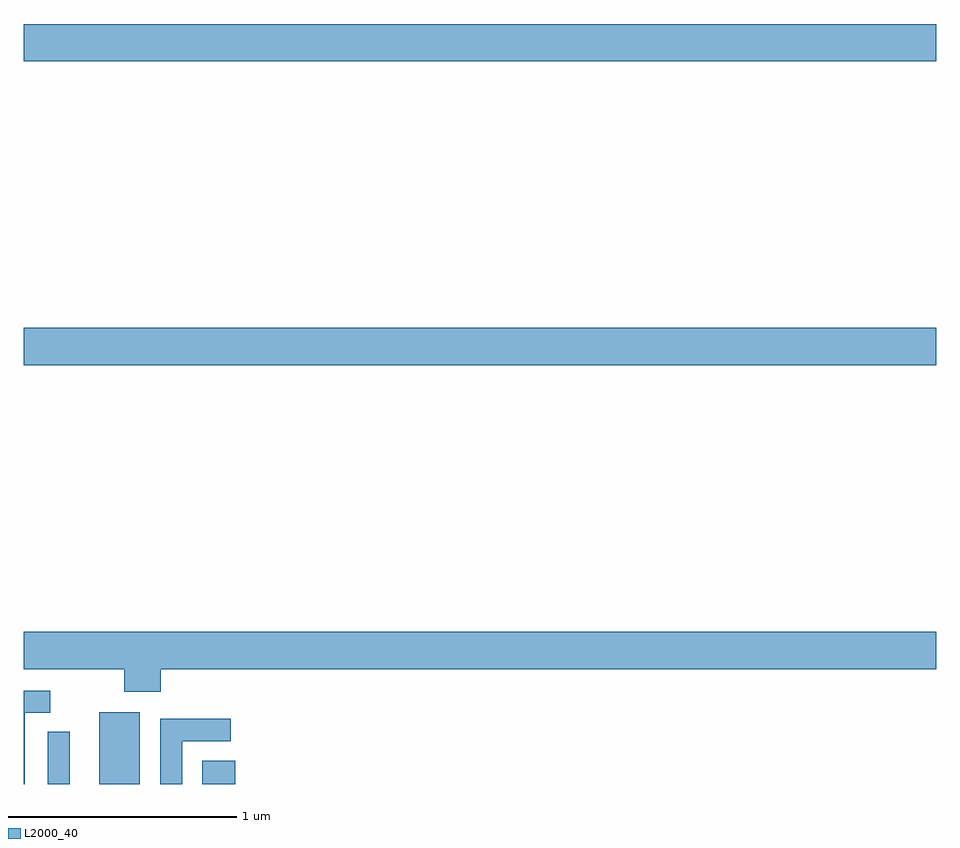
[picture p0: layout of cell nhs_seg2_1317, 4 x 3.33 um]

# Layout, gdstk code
import gdstk
lib = gdstk.Library(unit=1e-6, precision=1e-09)
def R(c, l, rs):  # rectangles x0, y0, x1, y1
    for r in rs: c.add(gdstk.rectangle(r[:2], r[2:], *l))
def P(c, l, *ps):  # polygons
    for p in ps: c.add(gdstk.Polygon(p, *l))
L2000_40 = (2000, 40)

nhs_seg2_1317 = lib.new_cell('nhs_seg2_1317')
R(nhs_seg2_1317, L2000_40, [(179.33,645.8,179.509,646.114), (179.783,645.8,179.927,645.902), (179,647.636,183,647.8), (179,648.968,183,649.132)])
P(nhs_seg2_1317, L2000_40, [(179.6,646.304),(183,646.304),(183,646.468),(179,646.468),(179,646.304),(179.44,646.304),(179.44,646.205),(179.6,646.205)],
  [(179.005,646.113),(179.116,646.113),(179.116,646.209),(179,646.209),(179,645.8),(179.005,645.8)],
  [(179.694,645.987),(179.908,645.987),(179.908,646.086),(179.598,646.086),(179.598,645.8),(179.694,645.8)],
  [(179.201,645.874),(179.202,645.874),(179.202,646.028),(179.106,646.028),(179.106,645.8),(179.201,645.8)])

lib.write_gds('nhs_seg2_1317.gds')
